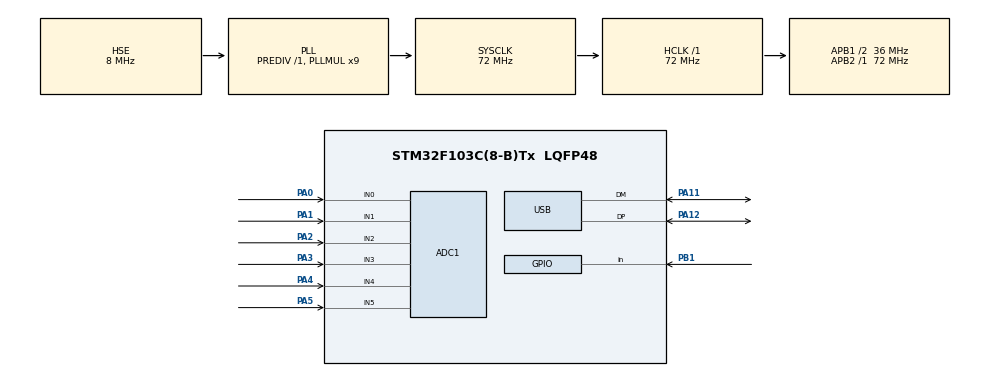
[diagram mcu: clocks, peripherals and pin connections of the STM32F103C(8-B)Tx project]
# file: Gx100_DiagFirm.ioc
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ADC1.Channel-0\#ChannelRegularConversion=ADC_CHANNEL_0
ADC1.Channel-1\#ChannelRegularConversion=ADC_CHANNEL_1
ADC1.Channel-2\#ChannelRegularConversion=ADC_CHANNEL_2
ADC1.Channel-3\#ChannelRegularConversion=ADC_CHANNEL_3
ADC1.Channel-4\#ChannelRegularConversion=ADC_CHANNEL_4
ADC1.Channel-5\#ChannelRegularConversion=ADC_CHANNEL_5
ADC1.ContinuousConvMode=ENABLE
ADC1.NbrOfConversion=6
ADC1.NbrOfConversionFlag=1
ADC1.Rank-0\#ChannelRegularConversion=1
ADC1.Rank-1\#ChannelRegularConversion=2
ADC1.Rank-2\#ChannelRegularConversion=3
ADC1.Rank-3\#ChannelRegularConversion=4
ADC1.Rank-4\#ChannelRegularConversion=5
ADC1.Rank-5\#ChannelRegularConversion=6
ADC1.SamplingTime-0\#ChannelRegularConversion=ADC_SAMPLETIME_28CYCLES_5
ADC1.SamplingTime-1\#ChannelRegularConversion=ADC_SAMPLETIME_28CYCLES_5
ADC1.SamplingTime-2\#ChannelRegularConversion=ADC_SAMPLETIME_28CYCLES_5
ADC1.SamplingTime-3\#ChannelRegularConversion=ADC_SAMPLETIME_28CYCLES_5
ADC1.SamplingTime-4\#ChannelRegularConversion=ADC_SAMPLETIME_28CYCLES_5
ADC1.SamplingTime-5\#ChannelRegularConversion=ADC_SAMPLETIME_28CYCLES_5
ADC1.master=1
Dma.ADC1.0.Direction=DMA_PERIPH_TO_MEMORY
Dma.ADC1.0.Instance=DMA1_Channel1
Dma.ADC1.0.MemDataAlignment=DMA_MDATAALIGN_HALFWORD
Dma.ADC1.0.MemInc=DMA_MINC_ENABLE
Dma.ADC1.0.Mode=DMA_CIRCULAR
Dma.ADC1.0.PeriphDataAlignment=DMA_PDATAALIGN_HALFWORD
Dma.ADC1.0.PeriphInc=DMA_PINC_DISABLE
Dma.ADC1.0.Priority=DMA_PRIORITY_LOW
Dma.Request0=ADC1
Mcu.Family=STM32F1
Mcu.Name=STM32F103C(8-B)Tx
Mcu.Package=LQFP48
NVIC.DMA1_Channel1_IRQn=true\:0\:0\:false\:false\:true\:false\:true\:true
NVIC.PriorityGroup=NVIC_PRIORITYGROUP_4
NVIC.USB_LP_CAN1_RX0_IRQn=true\:0\:0\:false\:false\:true\:false\:true\:true
PA0-WKUP.Signal=ADCx_IN0
PA1.Signal=ADCx_IN1
PA11.Mode=Device
PA11.Signal=USB_DM
PA12.Mode=Device
PA12.Signal=USB_DP
PA13.Mode=Serial_Wire
PA13.Signal=SYS_JTMS-SWDIO
PA14.Mode=Serial_Wire
PA14.Signal=SYS_JTCK-SWCLK
PA2.Signal=ADCx_IN2
PA3.Signal=ADCx_IN3
PA4.Signal=ADCx_IN4
PA5.Signal=ADCx_IN5
PB1.GPIO_PuPd=GPIO_PULLUP
PB1.Signal=GPIO_Input
PD0-OSC_IN.Mode=HSE-External-Oscillator
PD0-OSC_IN.Signal=RCC_OSC_IN
PD1-OSC_OUT.Mode=HSE-External-Oscillator
PD1-OSC_OUT.Signal=RCC_OSC_OUT
ProjectManager.HeapSize=0x200
ProjectManager.StackSize=0x400
ProjectManager.TargetToolchain=STM32CubeIDE
RCC.ADCPresc=RCC_ADCPCLK2_DIV6
RCC.AHBFreq_Value=72000000
RCC.APB1CLKDivider=RCC_HCLK_DIV2
RCC.APB1Freq_Value=36000000
RCC.APB1TimFreq_Value=72000000
RCC.APB2Freq_Value=72000000
RCC.APB2TimFreq_Value=72000000
RCC.HCLKFreq_Value=72000000
RCC.PLLMUL=RCC_PLL_MUL9
RCC.SYSCLKFreq_VALUE=72000000
RCC.SYSCLKSource=RCC_SYSCLKSOURCE_PLLCLK
RCC.USBFreq_Value=48000000
RCC.USBPrescaler=RCC_USBCLKSOURCE_PLL_DIV1_5
SH.ADCx_IN0.0=ADC1_IN0,IN0
SH.ADCx_IN1.0=ADC1_IN1,IN1
SH.ADCx_IN2.0=ADC1_IN2,IN2
SH.ADCx_IN3.0=ADC1_IN3,IN3
SH.ADCx_IN4.0=ADC1_IN4,IN4
SH.ADCx_IN5.0=ADC1_IN5,IN5
USB_DEVICE.CLASS_NAME_FS=CDC
USB_DEVICE.VirtualMode=Cdc
USB_DEVICE.VirtualModeFS=Cdc_FS
VP_USB_DEVICE_VS_USB_DEVICE_CDC_FS.Mode=CDC_FS
board=custom

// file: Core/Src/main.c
/* USER CODE BEGIN Header */
/**
  ******************************************************************************
  * @file           : main.c
  * @brief          : Main program body
  ******************************************************************************
  * @attention
  *
  * Copyright (c) 2026 STMicroelectronics.
  * All rights reserved.
  *
  * This software is licensed under terms that can be found in the LICENSE file
  * in the root directory of this software component.
  * If no LICENSE file comes with this software, it is provided AS-IS.
  *
  ******************************************************************************
  */
/* USER CODE END Header */
#include "main.h"
#include "adc.h"
#include "dma.h"
#include "usb_device.h"
#include "gpio.h"

/* USER CODE BEGIN Includes */
#include "usbd_cdc_if.h"
#include <stdio.h>
/* USER CODE END Includes */

/* USER CODE BEGIN PV */
#define HALL_CHANNEL_COUNT 6

static volatile uint16_t hall_adc[HALL_CHANNEL_COUNT];
static char tx_line[128];
/* USER CODE END PV */

void SystemClock_Config(void);

int main(void)
{

  /* MCU Configuration--------------------------------------------------------*/

  /* Reset of all peripherals, Initializes the Flash interface and the Systick. */
  HAL_Init();

  /* Configure the system clock */
  SystemClock_Config();

  /* Initialize all configured peripherals */
  MX_GPIO_Init();
  MX_DMA_Init();
  MX_ADC1_Init();
  MX_USB_DEVICE_Init();
  /* USER CODE BEGIN 2 */
  HAL_ADC_Start_DMA(&hadc1, (uint32_t *)hall_adc, HALL_CHANNEL_COUNT);
  /* USER CODE END 2 */

  /* Infinite loop */
  /* USER CODE BEGIN WHILE */
  while (1)
  {
    uint16_t hall_snapshot[HALL_CHANNEL_COUNT];
    for (int i = 0; i < HALL_CHANNEL_COUNT; i++)
    {
      hall_snapshot[i] = hall_adc[i];
    }
    GPIO_PinState collar = HAL_GPIO_ReadPin(GPIOB, GPIO_PIN_1);

    int len = snprintf(tx_line, sizeof(tx_line),
                        "T %lu HALL %u %u %u %u %u %u COLLAR %d\r\n",
                        (unsigned long)HAL_GetTick(),
                        hall_snapshot[0], hall_snapshot[1], hall_snapshot[2],
                        hall_snapshot[3], hall_snapshot[4], hall_snapshot[5],
                        collar == GPIO_PIN_SET ? 1 : 0);

    CDC_Transmit_FS((uint8_t *)tx_line, (uint16_t)len);

    HAL_Delay(100);
    /* USER CODE END WHILE */

  }
}

void SystemClock_Config(void)
{
  RCC_OscInitTypeDef RCC_OscInitStruct = {0};
  RCC_ClkInitTypeDef RCC_ClkInitStruct = {0};
  RCC_PeriphCLKInitTypeDef PeriphClkInit = {0};

  /** Initializes the RCC Oscillators according to the specified parameters
  * in the RCC_OscInitTypeDef structure.
  */
  RCC_OscInitStruct.OscillatorType = RCC_OSCILLATORTYPE_HSE;
  RCC_OscInitStruct.HSEState = RCC_HSE_ON;
  RCC_OscInitStruct.HSEPredivValue = RCC_HSE_PREDIV_DIV1;
  RCC_OscInitStruct.HSIState = RCC_HSI_ON;
  RCC_OscInitStruct.PLL.PLLState = RCC_PLL_ON;
  RCC_OscInitStruct.PLL.PLLSource = RCC_PLLSOURCE_HSE;
  RCC_OscInitStruct.PLL.PLLMUL = RCC_PLL_MUL9;
  if (HAL_RCC_OscConfig(&RCC_OscInitStruct) != HAL_OK)
  {
    Error_Handler();
  }

  /** Initializes the CPU, AHB and APB buses clocks
  */
  RCC_ClkInitStruct.ClockType = RCC_CLOCKTYPE_HCLK|RCC_CLOCKTYPE_SYSCLK
                              |RCC_CLOCKTYPE_PCLK1|RCC_CLOCKTYPE_PCLK2;
  RCC_ClkInitStruct.SYSCLKSource = RCC_SYSCLKSOURCE_PLLCLK;
  RCC_ClkInitStruct.AHBCLKDivider = RCC_SYSCLK_DIV1;
  RCC_ClkInitStruct.APB1CLKDivider = RCC_HCLK_DIV2;
  RCC_ClkInitStruct.APB2CLKDivider = RCC_HCLK_DIV1;

  if (HAL_RCC_ClockConfig(&RCC_ClkInitStruct, FLASH_LATENCY_2) != HAL_OK)
  {
    Error_Handler();
  }
  PeriphClkInit.PeriphClockSelection = RCC_PERIPHCLK_ADC|RCC_PERIPHCLK_USB;
  PeriphClkInit.AdcClockSelection = RCC_ADCPCLK2_DIV6;
  PeriphClkInit.UsbClockSelection = RCC_USBCLKSOURCE_PLL_DIV1_5;
  if (HAL_RCCEx_PeriphCLKConfig(&PeriphClkInit) != HAL_OK)
  {
    Error_Handler();
  }
}

void Error_Handler(void)
{
  __disable_irq();
  while (1)
  {
  }
}
